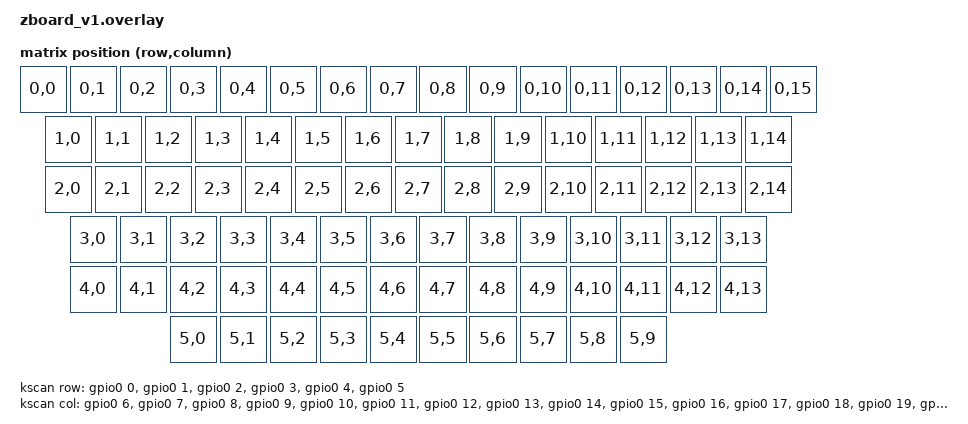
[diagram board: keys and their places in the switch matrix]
#include <dt-bindings/zmk/matrix_transform.h>

#include <raspberrypi/rpi_pico/rp2040.dtsi>
#include <arm/raspberrypi/rp2040-boot-mode-retention.dtsi>

#include "zboard_v1-layouts.dtsi"

&physical_layout0 {
    kscan = <&kscan>;
    transform = <&default_transform>;
};

/ {
    chosen {
        zmk,physical-layout = &physical_layout0;
        zmk,kscan = &kscan;
        zmk,matrix_transform = &default_transform;
    };

    kscan: kscan {
        compatible = "zmk,kscan-gpio-matrix";
        diode-direction = "col2row";
        wakeup-source;

        col-gpios
            = <&gpio0 6 (GPIO_ACTIVE_HIGH)>
            , <&gpio0 7 (GPIO_ACTIVE_HIGH)>
            , <&gpio0 8 (GPIO_ACTIVE_HIGH)>
            , <&gpio0 9 (GPIO_ACTIVE_HIGH)>
            , <&gpio0 10 (GPIO_ACTIVE_HIGH)>
            , <&gpio0 11 (GPIO_ACTIVE_HIGH)>
            , <&gpio0 12 (GPIO_ACTIVE_HIGH)>
            , <&gpio0 13 (GPIO_ACTIVE_HIGH)>
            , <&gpio0 14 (GPIO_ACTIVE_HIGH)>
            , <&gpio0 15 (GPIO_ACTIVE_HIGH)>
            , <&gpio0 16 (GPIO_ACTIVE_HIGH)>
            , <&gpio0 17 (GPIO_ACTIVE_HIGH)>
            , <&gpio0 18 (GPIO_ACTIVE_HIGH)>
            , <&gpio0 19 GPIO_ACTIVE_HIGH>
            , <&gpio0 20 GPIO_ACTIVE_HIGH>
            , <&gpio0 21 GPIO_ACTIVE_HIGH>
            ;

        row-gpios
            = <&gpio0 0 (GPIO_ACTIVE_HIGH | GPIO_PULL_DOWN)>
            , <&gpio0 1 (GPIO_ACTIVE_HIGH | GPIO_PULL_DOWN)>
            , <&gpio0 2 (GPIO_ACTIVE_HIGH | GPIO_PULL_DOWN)>
            , <&gpio0 3 (GPIO_ACTIVE_HIGH | GPIO_PULL_DOWN)>
            , <&gpio0 4 (GPIO_ACTIVE_HIGH | GPIO_PULL_DOWN)>
            , <&gpio0 5 (GPIO_ACTIVE_HIGH | GPIO_PULL_DOWN)>
            ;
    };

    default_transform: keymap_transform0 {
        compatible = "zmk,matrix-transform";
        columns = <16>;
        rows = <6>;

        map = <
            RC(0, 0) RC(0, 1) RC(0, 2) RC(0, 3) RC(0, 4) RC(0, 5) RC(0, 6) RC(0, 7) RC(0, 8) RC(0, 9) RC(0, 10) RC(0, 11) RC(0, 12) RC(0, 13) RC(0, 14) RC(0, 15)
            RC(1, 0) RC(1, 1) RC(1, 2) RC(1, 3) RC(1, 4) RC(1, 5) RC(1, 6) RC(1, 7) RC(1, 8) RC(1, 9) RC(1, 10) RC(1, 11) RC(1, 12)     RC(1, 13)       RC(1, 14)
            RC(2, 0)    RC(2, 1) RC(2, 2) RC(2, 3) RC(2, 4) RC(2, 5) RC(2, 6) RC(2, 7) RC(2, 8) RC(2, 9) RC(2, 10) RC(2, 11) RC(2, 12)  RC(2, 13)       RC(2, 14)
            RC(3, 0)        RC(3, 1) RC(3, 2) RC(3, 3) RC(3, 4) RC(3, 5) RC(3, 6) RC(3, 7) RC(3, 8) RC(3, 9) RC(3, 10) RC(3, 11)        RC(3, 12)       RC(3, 13)
            RC(4, 0)            RC(4, 1) RC(4, 2) RC(4, 3) RC(4, 4) RC(4, 5) RC(4, 6) RC(4, 7) RC(4, 8) RC(4, 9) RC(4, 10)      RC(4, 11)     RC(4, 12) RC(4, 13)
            RC(5, 0)    RC(5, 1)    RC(5, 2)                            RC(5, 3)                            RC(5, 4) RC(5, 5) RC(5, 6) RC(5, 7) RC(5, 8) RC(5, 9)
        >;
    };
};

&sram0 {
    reg = <0x20000004 ((DT_SIZE_K(264)) - 4)>;
};

/ {
    sram@20000000 {
        compatible = "zephyr,memory-region", "mmio-sram";
        reg = <0x20000000 0x4>;
        zephyr,memory-region = "RetainedMem";
        status = "okay";

        retainedmem {
            compatible = "zephyr,retained-ram";
            status = "okay";
            #address-cells = <1>;
            #size-cells = <1>;
            boot_mode: retention@0 {
                compatible = "zephyr,retention";
                status = "okay";
                reg = <0x0 0x1>;
            };
        };
    };
};

/ {
    chosen {
        zephyr,boot-mode = &boot_mode;
    };
};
